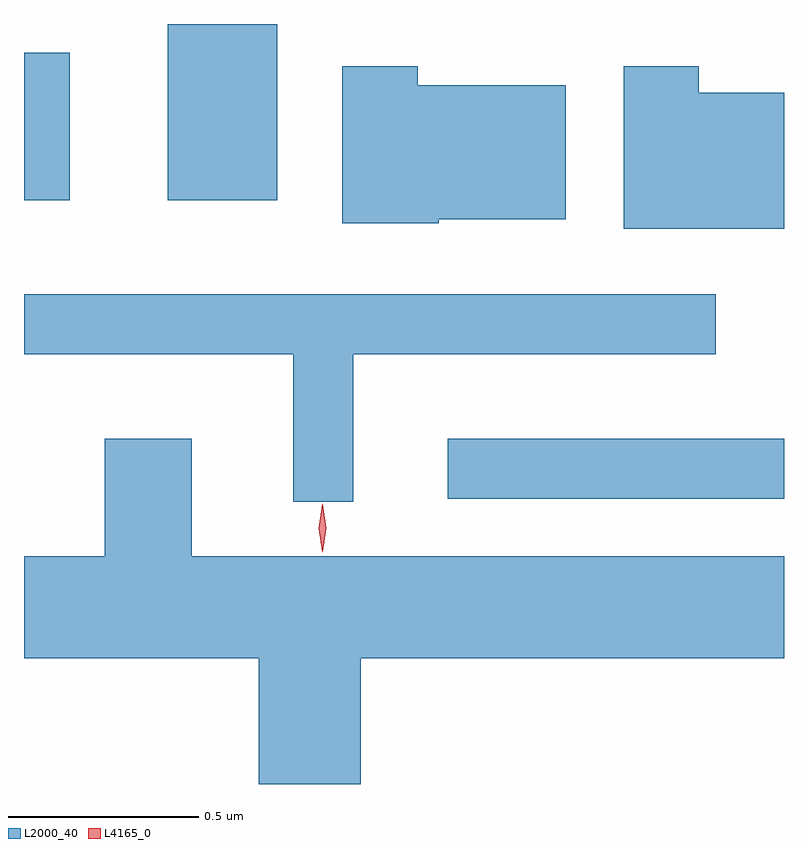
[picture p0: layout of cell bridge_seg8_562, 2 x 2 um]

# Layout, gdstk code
import gdstk
lib = gdstk.Library(unit=1e-6, precision=1e-09)
def R(c, l, rs):  # rectangles x0, y0, x1, y1
    for r in rs: c.add(gdstk.rectangle(r[:2], r[2:], *l))
def P(c, l, *ps):  # polygons
    for p in ps: c.add(gdstk.Polygon(p, *l))
L2000_40 = (2000, 40)
L4165_0 = (4165, 0)

bridge_seg8_562 = lib.new_cell('bridge_seg8_562')
R(bridge_seg8_562, L2000_40, [(455.333,1847.936,456.218,1848.094), (454.218,1848.721,454.339,1849.109), (454.596,1848.721,454.884,1849.185)])
P(bridge_seg8_562, L2000_40, [(455.31,1848.671),(455.644,1848.671),(455.644,1849.024),(455.254,1849.024),(455.254,1849.074),(455.056,1849.074),(455.056,1848.661),(455.31,1848.661)],
  [(456.218,1849.004),(455.994,1849.004),(455.994,1849.074),(455.796,1849.074),(455.796,1848.646),(456.218,1848.646)],
  [(455.084,1848.316),(456.038,1848.316),(456.038,1848.474),(454.218,1848.474),(454.218,1848.316),(454.926,1848.316),(454.926,1847.928),(455.084,1847.928)],
  [(455.104,1847.516),(456.218,1847.516),(456.218,1847.784),(454.659,1847.784),(454.659,1848.094),(454.431,1848.094),(454.431,1847.784),(454.218,1847.784),(454.218,1847.516),(454.836,1847.516),(454.836,1847.185),(455.104,1847.185)])
P(bridge_seg8_562, L4165_0, [(455.004,1847.795),(455.003,1847.796),(454.994,1847.858),(455.003,1847.921),(455.004,1847.922),(455.004,1847.921),(455.014,1847.858),(455.004,1847.796)])

lib.write_gds('bridge_seg8_562.gds')
